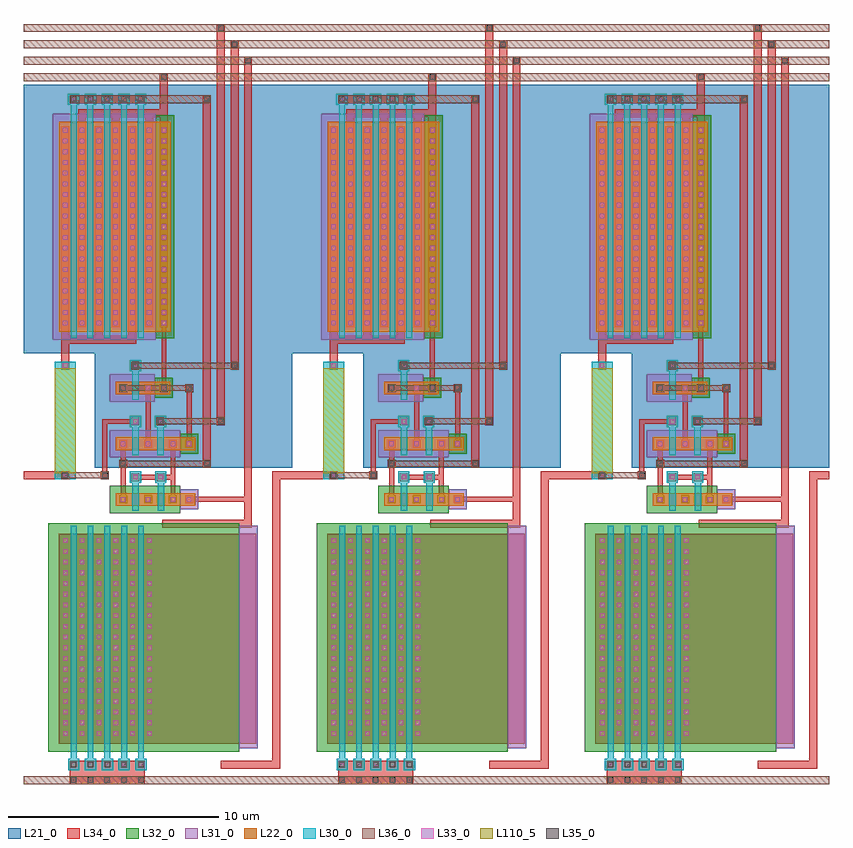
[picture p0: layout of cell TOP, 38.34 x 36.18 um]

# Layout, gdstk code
import gdstk
lib = gdstk.Library(unit=1e-6, precision=1e-09)
def R(c, l, rs):  # rectangles x0, y0, x1, y1
    for r in rs: c.add(gdstk.rectangle(r[:2], r[2:], *l))
def A(c, l, x, y, w, h, nx, ny, dx, dy):  # array of equal rectangles
    R(c, l, [(x+i*dx, y+j*dy, x+i*dx+w, y+j*dy+h) for i in range(nx) for j in range(ny)])
L21_0 = (21, 0)
L22_0 = (22, 0)
L30_0 = (30, 0)
L31_0 = (31, 0)
L32_0 = (32, 0)
L33_0 = (33, 0)
L34_0 = (34, 0)
L35_0 = (35, 0)
L36_0 = (36, 0)
L110_5 = (110, 5)

gainstage = lib.new_cell('GainStage')
R(gainstage, L21_0, [(-2.905,2.845,6.505,8.285), (-6.275,8.285,6.505,21.065)])
R(gainstage, L22_0, [(-1.905,1.035,1.895,1.635), (-1.905,3.685,1.895,4.285), (-1.905,6.335,0.695,6.935), (-4.58,9.32,0.72,19.32)])
A(gainstage, L30_0, -4.169, -11.56, 0.54, 0.54, 5, 1, 0.8, 0)
A(gainstage, L30_0, -4.039, -11.02, 0.28, 11.1, 5, 1, 0.8, 0)
A(gainstage, L30_0, -1.105, 0.785, 0.3, 1.34, 1, 3, 0, 2.65)
A(gainstage, L30_0, -1.235, 2.125, 0.54, 0.54, 1, 3, 0, 2.65)
A(gainstage, L30_0, -4.045, 9.015, 0.28, 11.1, 5, 1, 0.8, 0)
A(gainstage, L30_0, -4.175, 20.115, 0.54, 0.54, 5, 1, 0.8, 0)
R(gainstage, L30_0, [(0.105,0.785,0.405,2.125), (-0.025,2.125,0.515,2.665), (-4.805,2.285,-3.805,7.885), (-4.805,2.285,-3.805,7.885), (0.085,3.435,0.385,4.775), (-0.045,4.775,0.495,5.315)])
R(gainstage, L31_0, [(3.99,-10.525,4.87,0.087), (1.17,0.86,2.025,1.81), (-2.175,3.335,1.175,4.635), (-2.18,5.985,-0.03,7.285), (-4.9,8.94,0,19.69)])
R(gainstage, L32_0, [(-5.12,-10.68,3.99,0.2), (-2.18,0.68,1.17,1.98), (1.175,3.515,2.03,4.465), (-0.03,6.165,0.825,7.115), (0,9.005,0.88,19.615)])
A(gainstage, L33_0, -4.009, -11.4, 0.22, 0.22, 5, 1, 0.8, 0)
A(gainstage, L33_0, -4.409, -9.92, 0.22, 0.22, 6, 19, 0.8, 0.51)
A(gainstage, L33_0, -1.655, 1.225, 0.22, 0.22, 1, 3, 0, 2.65)
A(gainstage, L33_0, -0.465, 1.225, 0.22, 0.22, 1, 3, 0, 2.65)
A(gainstage, L33_0, -1.075, 2.285, 0.22, 0.22, 1, 3, 0, 2.65)
A(gainstage, L33_0, -4.415, 9.615, 0.22, 0.22, 6, 19, 0.8, 0.51)
A(gainstage, L33_0, 0.285, 9.615, 0.22, 0.22, 1, 19, 0, 0.51)
A(gainstage, L33_0, -4.015, 20.275, 0.22, 0.22, 5, 1, 0.8, 0)
R(gainstage, L33_0, [(0.715,1.225,0.935,1.445), (1.485,1.225,1.705,1.445), (0.135,2.285,0.355,2.505), (-4.415,2.365,-4.195,2.585), (-4.415,2.365,-4.195,2.585), (0.715,3.875,0.935,4.095), (1.485,3.875,1.705,4.095), (0.115,4.935,0.335,5.155), (0.285,6.525,0.505,6.745), (-4.415,7.585,-4.195,7.805), (-4.415,7.585,-4.195,7.805)])
A(gainstage, L34_0, -4.089, -11.48, 0.38, 0.38, 5, 1, 0.8, 0)
A(gainstage, L34_0, -3.689, -10, 0.38, 9.56, 5, 1, 0.8, 0)
A(gainstage, L34_0, -0.545, 1.145, 0.38, 0.38, 1, 3, 0, 2.65)
A(gainstage, L34_0, 1.405, 1.145, 0.38, 0.38, 1, 3, 0, 2.65)
A(gainstage, L34_0, -1.155, 2.205, 0.38, 0.38, 1, 3, 0, 2.65)
A(gainstage, L34_0, -4.495, 9.535, 0.38, 9.56, 5, 1, 0.8, 0)
A(gainstage, L34_0, -4.095, 20.195, 0.38, 0.38, 5, 1, 0.8, 0)
R(gainstage, L34_0, [(-4.095,-12.215,-0.515,-11.105), (3.105,-11.486,5.925,-11.106), (5.545,-11.486,5.925,2.665), (-4.089,-11.48,-0.509,-11.1), (-4.62,-10.3,4.79,-0.3), (-4.49,-10,-4.109,-0.44), (4.215,-0.025,4.585,22.405), (0.305,-0.024,4.585,0.356), (-1.735,1.145,-1.355,1.525), (0.635,1.145,1.015,1.525), (1.485,1.22,4.585,1.45), (-1.66,1.525,-1.43,3.795), (0.71,1.525,0.94,3.795), (0.055,2.205,0.435,2.585), (-0.775,2.28,0.055,2.51), (0.435,2.28,0.935,2.51), (-6.275,2.285,-4.115,2.665), (-4.495,2.285,-4.115,2.665), (-4.495,2.285,-4.115,2.665), (-2.605,2.285,-2.225,2.665), (5.545,2.285,6.505,2.665), (-2.53,2.36,-2.3,5.16), (-1.735,2.845,-1.355,3.225), (2.255,2.845,2.635,3.225), (2.255,2.845,2.635,20.575), (-1.735,3.795,-1.355,4.175), (0.635,3.795,1.015,4.175), (-0.47,4.175,-0.24,6.445), (1.48,4.175,1.71,6.445), (0.035,4.855,0.415,5.235), (2.915,4.855,3.295,5.235), (2.915,4.855,3.295,23.965), (-2.53,4.93,-0.85,5.16), (-1.735,6.445,-1.355,6.825), (0.205,6.445,0.585,6.825), (0.28,6.525,0.51,9.835), (-4.495,7.505,-4.115,7.885), (-4.495,7.505,-4.115,7.885), (-4.495,7.505,-4.115,9.535), (3.575,7.505,3.955,23.185), (-4.495,8.735,-0.915,9.115), (-2.895,9.115,-2.515,9.535), (-1.295,9.115,-0.915,9.535), (-0.495,9.535,-0.114,19.095), (0.205,9.535,0.585,19.095), (-3.695,19.095,-3.315,19.515), (-2.095,19.095,-1.715,19.515), (-0.495,19.095,-0.114,19.515), (0.205,19.095,0.585,19.515), (-3.695,19.515,0.585,19.895), (0.205,19.515,0.585,21.625), (-4.095,20.195,-0.515,20.575)])
A(gainstage, L35_0, -4.035, -12.155, 0.26, 0.26, 5, 2, 0.8, 32.41)
A(gainstage, L35_0, -4.029, -11.42, 0.26, 0.26, 5, 1, 0.8, 0)
R(gainstage, L35_0, [(-4.435,2.345,-4.175,2.605), (-4.435,2.345,-4.175,2.605), (-4.435,2.345,-4.175,2.605), (-2.545,2.345,-2.285,2.605), (-1.675,2.905,-1.415,3.165), (2.315,2.905,2.575,3.165), (0.095,4.915,0.355,5.175), (2.975,4.915,3.235,5.175), (-1.675,6.505,-1.415,6.765), (0.265,6.505,0.525,6.765), (1.465,6.505,1.725,6.765), (-1.095,7.565,-0.835,7.825), (3.635,7.565,3.895,7.825), (2.315,20.255,2.575,20.515), (0.265,21.305,0.525,21.565), (4.275,22.085,4.535,22.345), (3.635,22.865,3.895,23.125), (2.975,23.645,3.235,23.905)])
A(gainstage, L36_0, -6.275, 21.245, 12.78, 0.38, 1, 4, 0, 0.78)
R(gainstage, L36_0, [(-6.275,-12.215,6.505,-11.835), (-4.495,2.285,-4.115,2.665), (-2.605,2.285,-2.225,2.665), (-4.415,2.335,-2.305,2.615), (-1.735,2.845,-1.355,3.225), (2.255,2.845,2.635,3.225), (-1.655,2.895,2.555,3.175), (0.035,4.855,0.415,5.235), (2.915,4.855,3.295,5.235), (0.115,4.905,3.215,5.185), (-1.735,6.445,-1.355,6.825), (0.205,6.445,0.585,6.825), (1.405,6.445,1.785,6.825), (-1.655,6.495,1.705,6.775), (-1.155,7.505,-0.775,7.885), (3.575,7.505,3.955,7.885), (-1.075,7.555,3.875,7.835), (-4.095,20.195,2.635,20.575)])
R(gainstage, L110_5, [(-4.805,2.585,-3.805,7.585), (-4.805,2.585,-3.805,7.585)])

top = lib.new_cell('TOP')
r = gdstk.Reference(gainstage, (-11.82,-0.06)); r.repetition = gdstk.Repetition(1, 1, v1=(0,0), v2=(0,0)); top.add(r)
r = gdstk.Reference(gainstage, (0.96,-0.06)); r.repetition = gdstk.Repetition(1, 1, v1=(0,0), v2=(0,0)); top.add(r)
r = gdstk.Reference(gainstage, (13.74,-0.06)); r.repetition = gdstk.Repetition(1, 1, v1=(0,0), v2=(0,0)); top.add(r)

lib.write_gds('TOP.gds')
